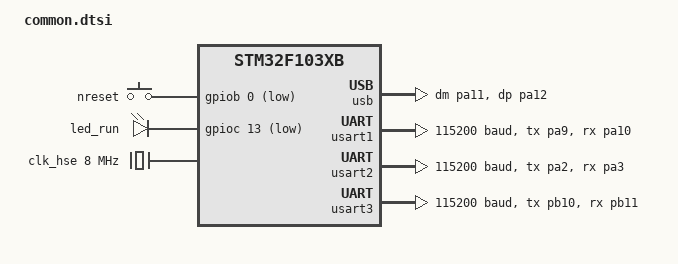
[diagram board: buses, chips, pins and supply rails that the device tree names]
/*
 * Copyright (c) 2023 XiNGRZ
 * SPDX-License-Identifier: Apache-2.0
 */

#include <st/f1/stm32f103Xb.dtsi>
#include <st/f1/stm32f103c(8-b)tx-pinctrl.dtsi>

/ {
	chosen {
		zephyr,sram = &sram0;
		zephyr,flash = &flash0;
		zephyr,console = &usart3;
		zephyr,usb-device = &usb;
	};

	aliases {
		nreset = &nreset;
		led-run = &led_run;
	};

	keys {
		compatible = "gpio-keys";

		nreset: nreset {
			gpios = <&gpiob 0 (GPIO_ACTIVE_LOW | GPIO_PULL_UP)>;
		};
	};

	leds {
		compatible = "gpio-leds";

		led_run: led_run {
			gpios = <&gpioc 13 GPIO_ACTIVE_LOW>;
		};
	};
};

&clk_hse {
	clock-frequency = <DT_FREQ_M(8)>;
	status = "okay";
};

&pll {
	mul = <9>;
	clocks = <&clk_hse>;
	status = "okay";
};

&rcc {
	clocks = <&pll>;
	clock-frequency = <DT_FREQ_M(72)>;
	ahb-prescaler = <1>;
	apb1-prescaler = <2>;
	apb2-prescaler = <1>;
};

&usb {
	pinctrl-0 = <&usb_dm_pa11 &usb_dp_pa12>;
	pinctrl-names = "default";
	status = "okay";

	vbus-gpios = <&gpioa 12 GPIO_ACTIVE_LOW>;
};

&usart1 {
	pinctrl-0 = <&usart1_tx_pa9 &usart1_rx_pa10>;
	pinctrl-names = "default";
	current-speed = <115200>;
};

&usart2 {
	pinctrl-0 = <&usart2_tx_pa2 &usart2_rx_pa3>;
	pinctrl-names = "default";
	current-speed = <115200>;
};

&usart3 {
	pinctrl-0 = <&usart3_tx_pb10 &usart3_rx_pb11>;
	pinctrl-names = "default";
	status = "okay";
	current-speed = <115200>;
};

&flash0 {
	partitions {
		compatible = "fixed-partitions";
		#address-cells = <1>;
		#size-cells = <1>;

		bootloader_partition: partition@0 {
			label = "bootloader";
			reg = <0x00000000 DT_SIZE_K(48)>;
		};

		code_partition: partition@C000 {
			label = "code_partition";
			reg = <0x0000C000 DT_SIZE_K(80)>;
		};
	};
};
